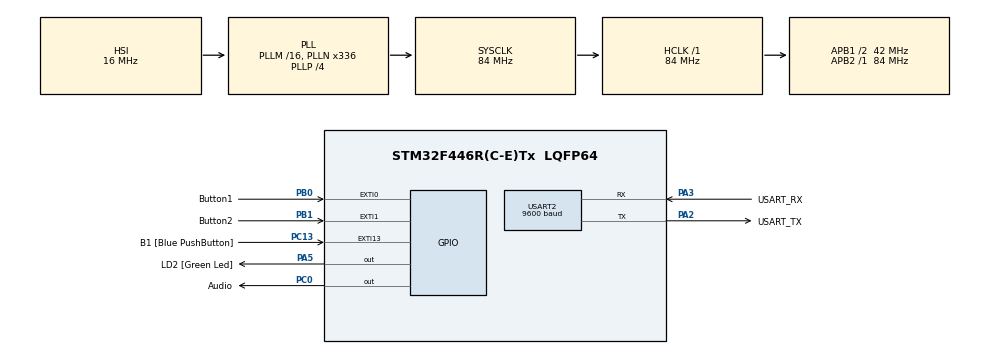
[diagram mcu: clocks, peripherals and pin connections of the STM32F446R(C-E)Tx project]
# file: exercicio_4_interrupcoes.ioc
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Mcu.Family=STM32F4
Mcu.Name=STM32F446R(C-E)Tx
Mcu.Package=LQFP64
Mcu.UserConstants=TIM10_261Hz,79;TIM10_227Hz,91;TIM10_293Hz,71
NVIC.EXTI0_IRQn=true\:0\:0\:false\:false\:true\:true\:true\:true
NVIC.EXTI1_IRQn=true\:0\:0\:false\:false\:true\:true\:true\:true
NVIC.PriorityGroup=NVIC_PRIORITYGROUP_0
NVIC.TIM1_UP_TIM10_IRQn=true\:0\:0\:false\:false\:true\:true\:true\:true
NVIC.USART2_IRQn=true\:0\:0\:false\:false\:true\:true\:true\:true
PA13.GPIO_Label=TMS
PA13.Mode=Serial_Wire
PA13.Signal=SYS_JTMS-SWDIO
PA14.GPIO_Label=TCK
PA14.Mode=Serial_Wire
PA14.Signal=SYS_JTCK-SWCLK
PA2.GPIO_Label=USART_TX
PA2.Mode=Asynchronous
PA2.Signal=USART2_TX
PA3.GPIO_Label=USART_RX
PA3.Mode=Asynchronous
PA3.Signal=USART2_RX
PA5.GPIO_Label=LD2 [Green Led]
PA5.Signal=GPIO_Output
PB0.GPIO_Label=Button1
PB0.GPIO_ModeDefaultEXTI=GPIO_MODE_IT_RISING_FALLING
PB0.Signal=GPXTI0
PB1.GPIO_Label=Button2
PB1.GPIO_ModeDefaultEXTI=GPIO_MODE_IT_RISING_FALLING
PB1.Signal=GPXTI1
PB3.GPIO_Label=SWO
PB3.Signal=SYS_JTDO-SWO
PC0.GPIO_Label=Audio
PC0.Signal=GPIO_Output
PC13.GPIO_Label=B1 [Blue PushButton]
PC13.GPIO_ModeDefaultEXTI=GPIO_MODE_IT_FALLING
PC13.Signal=GPXTI13
PC14-OSC32_IN.Mode=LSE-External-Oscillator
PC14-OSC32_IN.Signal=RCC_OSC32_IN
PC15-OSC32_OUT.Mode=LSE-External-Oscillator
PC15-OSC32_OUT.Signal=RCC_OSC32_OUT
PH0-OSC_IN.Mode=HSE-External-Oscillator
PH0-OSC_IN.Signal=RCC_OSC_IN
PH1-OSC_OUT.Mode=HSE-External-Oscillator
PH1-OSC_OUT.Signal=RCC_OSC_OUT
ProjectManager.HeapSize=0x200
ProjectManager.StackSize=0x400
ProjectManager.TargetToolchain=STM32CubeIDE
RCC.48MHZClocksFreq_Value=84000000
RCC.AHBFreq_Value=84000000
RCC.APB1CLKDivider=RCC_HCLK_DIV2
RCC.APB1Freq_Value=42000000
RCC.APB1TimFreq_Value=84000000
RCC.APB2Freq_Value=84000000
RCC.APB2TimFreq_Value=84000000
RCC.CortexFreq_Value=84000000
RCC.FLatency-AdvancedSettings=FLASH_LATENCY_2
RCC.HCLKFreq_Value=84000000
RCC.HSE_VALUE=8000000
RCC.HSI_VALUE=16000000
RCC.PLLN=336
RCC.PLLP=RCC_PLLP_DIV4
RCC.SYSCLKFreq_VALUE=84000000
RCC.SYSCLKSource=RCC_SYSCLKSOURCE_PLLCLK
RCC.USBFreq_Value=168000000
RCC.VCOOutputFreq_Value=336000000
TIM10.Period=79
TIM10.Prescaler=1999
USART2.BaudRate=9600
USART2.VirtualMode=VM_ASYNC
VP_TIM10_VS_ClockSourceINT.Mode=Enable_Timer
board=NUCLEO-F446RE

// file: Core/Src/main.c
/* USER CODE BEGIN Header */
/**
 ******************************************************************************
 * @file           : main.c
 * @brief          : Main program body
 ******************************************************************************
 * @attention
 *
 * Copyright (c) 2023 STMicroelectronics.
 * All rights reserved.
 *
 * This software is licensed under terms that can be found in the LICENSE file
 * in the root directory of this software component.
 * If no LICENSE file comes with this software, it is provided AS-IS.
 *
 ******************************************************************************
 */
/* USER CODE END Header */
#include "main.h"
#include "tim.h"
#include "usart.h"
#include "gpio.h"

/* USER CODE BEGIN Includes */
#include <ctype.h>

/* USER CODE END Includes */

/* USER CODE BEGIN PTD */
typedef enum
{
	BUTTON_PULL_DOWN = 0,
	BUTTON_PULL_UP
}BUTTON_PUPD;
typedef enum
{
	SOLTO = 0,
	AO_PRESSIONAR,
	PRESSIONADO,
	AO_SOLTAR
}ESTADO_BOTAO;
typedef struct {
	GPIO_TypeDef* GPIOx;
	uint16_t GPIO_Pin;
	BUTTON_PUPD pull;
	uint8_t atual;
	uint8_t anterior;
	ESTADO_BOTAO estado;
} BUTTON_CONTROLLER;
typedef enum
{
	DESLIGADO=0,
	A,
	B,
	C,
}ESTADO_NOTAS;
typedef enum
{
		DESLIGA=0,
		LIGA,
} ESTADO_LIGA_DESLIGA;

/* USER CODE END PTD */

/* USER CODE BEGIN PV */
ESTADO_LIGA_DESLIGA liga_desliga = DESLIGA;
BUTTON_CONTROLLER controller1;
BUTTON_CONTROLLER controller2;
#define TCMD 1
uint8_t comando;
char comando_letra = '\0';
uint8_t comando_numero = 0;
char frase1[] = "\r\nEsta tocando Do\r\n";
char frase2[] = "\r\nEsta tocando Do#\r\n";
char frase3[] = "\r\nEsta tocando Re\r\n";
char frase4[] = "\r\nDesligado\r\n";
/* USER CODE END PV */

void SystemClock_Config(void);
/* USER CODE BEGIN PFP */
BUTTON_CONTROLLER start_controller(GPIO_TypeDef* GPIOx, uint16_t GPIO_Pin, BUTTON_PUPD pull);
void gerenciador_botao_struct(BUTTON_CONTROLLER * controller);
void zera_notas();
/* USER CODE END PFP */

int main(void)
{
  /* USER CODE BEGIN 1 */
	controller1 = start_controller(Button1_GPIO_Port, Button1_Pin, BUTTON_PULL_UP);
	controller2 = start_controller(Button2_GPIO_Port, Button2_Pin, BUTTON_PULL_UP);
  /* USER CODE END 1 */

  /* MCU Configuration--------------------------------------------------------*/

  /* Reset of all peripherals, Initializes the Flash interface and the Systick. */
  HAL_Init();

  /* Configure the system clock */
  SystemClock_Config();

  /* Initialize all configured peripherals */
  MX_GPIO_Init();
  MX_USART2_UART_Init();
  MX_TIM10_Init();
  /* USER CODE BEGIN 2 */
  HAL_TIM_Base_Start_IT(&htim10);
  HAL_UART_Receive_IT(&huart2, &comando, TCMD);
  /* USER CODE END 2 */

  /* Infinite loop */
	while (1)
	{

	}
}

void SystemClock_Config(void)
{
  RCC_OscInitTypeDef RCC_OscInitStruct = {0};
  RCC_ClkInitTypeDef RCC_ClkInitStruct = {0};

  /** Configure the main internal regulator output voltage
  */
  __HAL_RCC_PWR_CLK_ENABLE();
  __HAL_PWR_VOLTAGESCALING_CONFIG(PWR_REGULATOR_VOLTAGE_SCALE3);

  /** Initializes the RCC Oscillators according to the specified parameters
  * in the RCC_OscInitTypeDef structure.
  */
  RCC_OscInitStruct.OscillatorType = RCC_OSCILLATORTYPE_HSI;
  RCC_OscInitStruct.HSIState = RCC_HSI_ON;
  RCC_OscInitStruct.HSICalibrationValue = RCC_HSICALIBRATION_DEFAULT;
  RCC_OscInitStruct.PLL.PLLState = RCC_PLL_ON;
  RCC_OscInitStruct.PLL.PLLSource = RCC_PLLSOURCE_HSI;
  RCC_OscInitStruct.PLL.PLLM = 16;
  RCC_OscInitStruct.PLL.PLLN = 336;
  RCC_OscInitStruct.PLL.PLLP = RCC_PLLP_DIV4;
  RCC_OscInitStruct.PLL.PLLQ = 2;
  RCC_OscInitStruct.PLL.PLLR = 2;
  if (HAL_RCC_OscConfig(&RCC_OscInitStruct) != HAL_OK)
  {
    Error_Handler();
  }

  /** Initializes the CPU, AHB and APB buses clocks
  */
  RCC_ClkInitStruct.ClockType = RCC_CLOCKTYPE_HCLK|RCC_CLOCKTYPE_SYSCLK
                              |RCC_CLOCKTYPE_PCLK1|RCC_CLOCKTYPE_PCLK2;
  RCC_ClkInitStruct.SYSCLKSource = RCC_SYSCLKSOURCE_PLLCLK;
  RCC_ClkInitStruct.AHBCLKDivider = RCC_SYSCLK_DIV1;
  RCC_ClkInitStruct.APB1CLKDivider = RCC_HCLK_DIV2;
  RCC_ClkInitStruct.APB2CLKDivider = RCC_HCLK_DIV1;

  if (HAL_RCC_ClockConfig(&RCC_ClkInitStruct, FLASH_LATENCY_2) != HAL_OK)
  {
    Error_Handler();
  }
}

/* USER CODE BEGIN 4 */
BUTTON_CONTROLLER start_controller(GPIO_TypeDef* GPIOx, uint16_t GPIO_Pin, BUTTON_PUPD pull){
	BUTTON_CONTROLLER controller;
	controller.GPIO_Pin = GPIO_Pin;
	controller.GPIOx = GPIOx;
	controller.pull = pull;
	controller.atual = 0;
	controller.anterior = 0;
	controller.estado = SOLTO;
	return controller;
}

void gerenciador_botao(GPIO_TypeDef* GPIOx, uint16_t GPIO_Pin, BUTTON_PUPD pull, uint8_t * atual, uint8_t * anterior, ESTADO_BOTAO * estado)
{
	ESTADO_BOTAO estado_botao(uint8_t atual, uint8_t * anerior);
	if ((*atual == 0) && (HAL_GPIO_ReadPin(GPIOx, GPIO_Pin) != (GPIO_PinState) pull)){
		for (int i = 0; i < 80000; i++);
		if (HAL_GPIO_ReadPin(GPIOx, GPIO_Pin) != (GPIO_PinState) pull){
			*atual = 1;
		}
	}
	if (HAL_GPIO_ReadPin(GPIOx, GPIO_Pin) == (GPIO_PinState) pull) {
		*atual = 0;
	}
	*estado = estado_botao(*atual, anterior);
}

void gerenciador_botao_struct(BUTTON_CONTROLLER * controller)
{
	void gerenciador_botao(GPIO_TypeDef* GPIOx, uint16_t GPIO_Pin, BUTTON_PUPD pull, uint8_t * atual, uint8_t * anterior, ESTADO_BOTAO * estado);
	gerenciador_botao(controller->GPIOx, controller->GPIO_Pin, controller->pull, &(controller->atual), &(controller->anterior), &(controller->estado));
}

ESTADO_BOTAO estado_botao(uint8_t atual, uint8_t * anterior)
{
	if ((*anterior == 0) && (atual == 1)) {
		*anterior = atual;
		return AO_PRESSIONAR;
	} else if ((*anterior == 1) && (atual == 1)) {
		*anterior = atual;
		return PRESSIONADO;
	} else if ((*anterior == 1) && (atual == 0)) {
		*anterior = atual;
		return AO_SOLTAR;
	}
	*anterior = atual;
	return SOLTO;

}

void HAL_TIM_PeriodElapsedCallback(TIM_HandleTypeDef *htim)
{
	void inverte_pinos();
	__HAL_TIM_CLEAR_IT(&htim10,TIM_IT_UPDATE);
	if (liga_desliga == LIGA) inverte_pinos();
}

void HAL_GPIO_EXTI_Callback(uint16_t GPIO_Pin)
{
	long int pegaFrequenciaTim(TIM_HandleTypeDef * htim);
	if (GPIO_Pin == controller1.GPIO_Pin){
	    gerenciador_botao_struct(&controller1);
		if (controller1.estado == AO_PRESSIONAR){
			switch(pegaFrequenciaTim(&htim10)){
			case 227:
				HAL_UART_Transmit_IT(&huart2, (uint8_t *) frase2, (uint16_t) sizeof(frase2));
				break;
			case 293:
				HAL_UART_Transmit_IT(&huart2, (uint8_t *) frase3, (uint16_t) sizeof(frase3));
				break;
			case 261:
			default:
				HAL_UART_Transmit_IT(&huart2, (uint8_t *) frase1, (uint16_t) sizeof(frase1));
				break;
			}
			liga_desliga = LIGA;
		}
	}
	if (GPIO_Pin == controller2.GPIO_Pin){
		gerenciador_botao_struct(&controller2);
		if (controller2.estado == AO_PRESSIONAR){
			HAL_UART_Transmit_IT(&huart2, (uint8_t *) frase4, (uint16_t) sizeof(frase4));
			liga_desliga = DESLIGA;
			zera_notas();
		}
	}
}

void HAL_UART_RxCpltCallback(UART_HandleTypeDef *huart)
{
	void gerencia_estados();
	if (isalpha(comando)) {
		comando_letra = comando;
	} else if (isdigit(comando)) {
		comando_numero = comando - '0';
		gerencia_estados();
	}
	HAL_UART_Receive_IT(&huart2, &comando, TCMD);
}

void gerencia_estados()
{
	void setaFrequenciaTim(TIM_HandleTypeDef * htim, int frequencia);

	switch(comando_numero){
	case 1:
		setaFrequenciaTim(&htim10, 261);
		HAL_UART_Transmit_IT(&huart2, (uint8_t *) frase1, (uint16_t) sizeof(frase1));
		break;
	case 2:
		setaFrequenciaTim(&htim10, 227);
		HAL_UART_Transmit_IT(&huart2, (uint8_t *) frase2, (uint16_t) sizeof(frase2));
		break;
	case 3:
		setaFrequenciaTim(&htim10, 293);
		HAL_UART_Transmit_IT(&huart2, (uint8_t *) frase3, (uint16_t) sizeof(frase3));
		break;
	default:
		break;
	}
}

void setaFrequenciaTim(TIM_HandleTypeDef * htim, int frequencia)
{
	double temp = 84000000/(frequencia * 2);
	double arr = temp / (htim->Instance->PSC + 1) - 1;
	__HAL_TIM_SET_COUNTER(htim, 0);
	__HAL_TIM_SET_AUTORELOAD(htim, arr);
}

long int pegaFrequenciaTim(TIM_HandleTypeDef * htim)
{
	return (long int) 84000000/((htim->Instance->PSC + 1) * (htim->Instance->ARR + 1)) / 2;
}

void inverte_pinos()
{
	HAL_GPIO_TogglePin(Audio_GPIO_Port, Audio_Pin);
}

void zera_notas()
{
	HAL_GPIO_WritePin(Audio_GPIO_Port, Audio_Pin, 0);
}

/* USER CODE END 4 */

void Error_Handler(void)
{
	__disable_irq();
	while (1)
	{
	}
}
